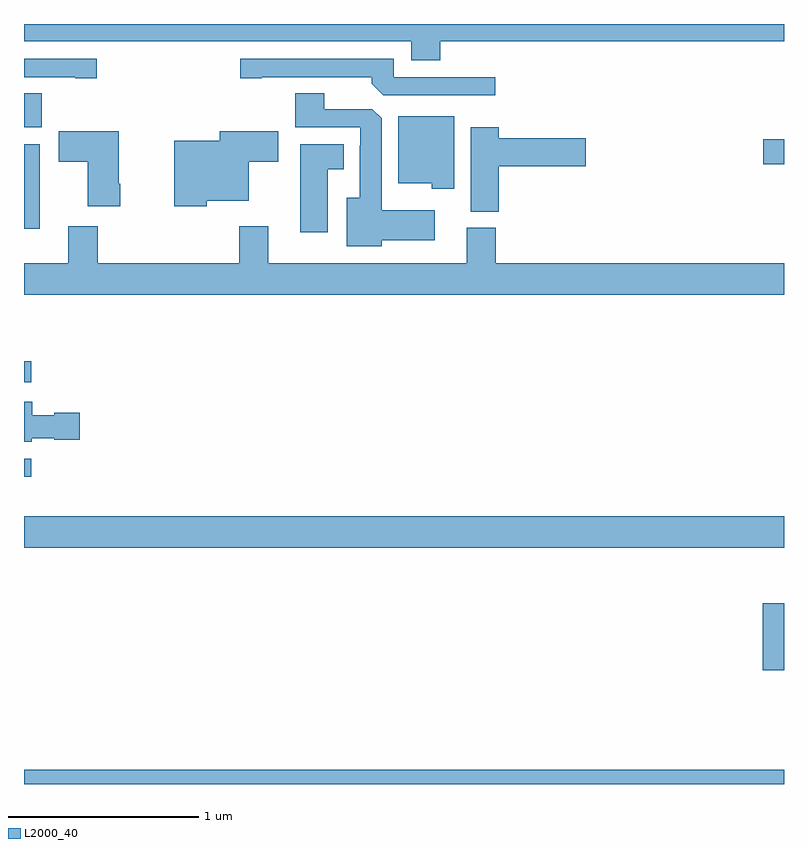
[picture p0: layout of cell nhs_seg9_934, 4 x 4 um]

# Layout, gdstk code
import gdstk
lib = gdstk.Library(unit=1e-6, precision=1e-09)
def R(c, l, rs):  # rectangles x0, y0, x1, y1
    for r in rs: c.add(gdstk.rectangle(r[:2], r[2:], *l))
def P(c, l, *ps):  # polygons
    for p in ps: c.add(gdstk.Polygon(p, *l))
L2000_40 = (2000, 40)

nhs_seg9_934 = lib.new_cell('nhs_seg9_934')
R(nhs_seg9_934, L2000_40, [(161,1204.5,165,1204.576), (164.888,1205.099,165,1205.452), (161,1205.744,165,1205.908), (161,1206.117,161.038,1206.213), (161,1206.615,161.038,1206.724), (161,1207.422,161.083,1207.867), (164.892,1207.763,165,1207.893), (161,1207.956,161.093,1208.135)])
P(nhs_seg9_934, L2000_40, [(161,1208.408),(163.037,1208.408),(163.037,1208.309),(163.19,1208.309),(163.19,1208.408),(165,1208.408),(165,1208.5),(161,1208.5)],
  [(161.383,1208.316),(161,1208.316),(161,1208.22),(161.27,1208.22),(161.27,1208.215),(161.383,1208.215)],
  [(163.48,1208.22),(162.945,1208.22),(162.945,1208.316),(162.138,1208.316),(162.138,1208.215),(162.25,1208.215),(162.25,1208.22),(162.83,1208.22),(162.83,1208.186),(162.891,1208.124),(163.48,1208.124)],
  [(162.883,1207.361),(163.162,1207.361),(163.162,1207.519),(162.883,1207.519),(162.883,1208.003),(162.834,1208.052),(162.58,1208.052),(162.58,1208.135),(162.428,1208.135),(162.428,1207.956),(162.771,1207.956),(162.771,1207.859),(162.767,1207.859),(162.767,1207.585),(162.698,1207.585),(162.698,1207.331),(162.883,1207.331)],
  [(163.264,1208.014),(162.971,1208.014),(162.971,1207.661),(163.146,1207.661),(163.146,1207.634),(163.264,1207.634)],
  [(163.499,1207.751),(163.957,1207.751),(163.957,1207.898),(163.499,1207.898),(163.499,1207.957),(163.352,1207.957),(163.352,1207.513),(163.499,1207.513)],
  [(161.963,1207.571),(162.184,1207.571),(162.184,1207.774),(162.337,1207.774),(162.337,1207.936),(162.029,1207.936),(162.029,1207.885),(161.792,1207.885),(161.792,1207.541),(161.963,1207.541)],
  [(161.506,1207.659),(161.499,1207.659),(161.499,1207.936),(161.184,1207.936),(161.184,1207.774),(161.336,1207.774),(161.336,1207.541),(161.506,1207.541)],
  [(162.598,1207.736),(162.682,1207.736),(162.682,1207.867),(162.455,1207.867),(162.455,1207.404),(162.598,1207.404)],
  [(165,1207.24),(163.484,1207.24),(163.484,1207.428),(163.331,1207.428),(163.331,1207.24),(162.286,1207.24),(162.286,1207.435),(162.134,1207.435),(162.134,1207.24),(161.387,1207.24),(161.387,1207.435),(161.234,1207.435),(161.234,1207.24),(161,1207.24),(161,1207.076),(165,1207.076)],
  [(161.04,1206.32),(161.16,1206.32),(161.16,1206.313),(161.293,1206.313),(161.293,1206.455),(161.16,1206.455),(161.16,1206.442),(161.044,1206.442),(161.044,1206.511),(161,1206.511),(161,1206.302),(161.04,1206.302)])

lib.write_gds('nhs_seg9_934.gds')
